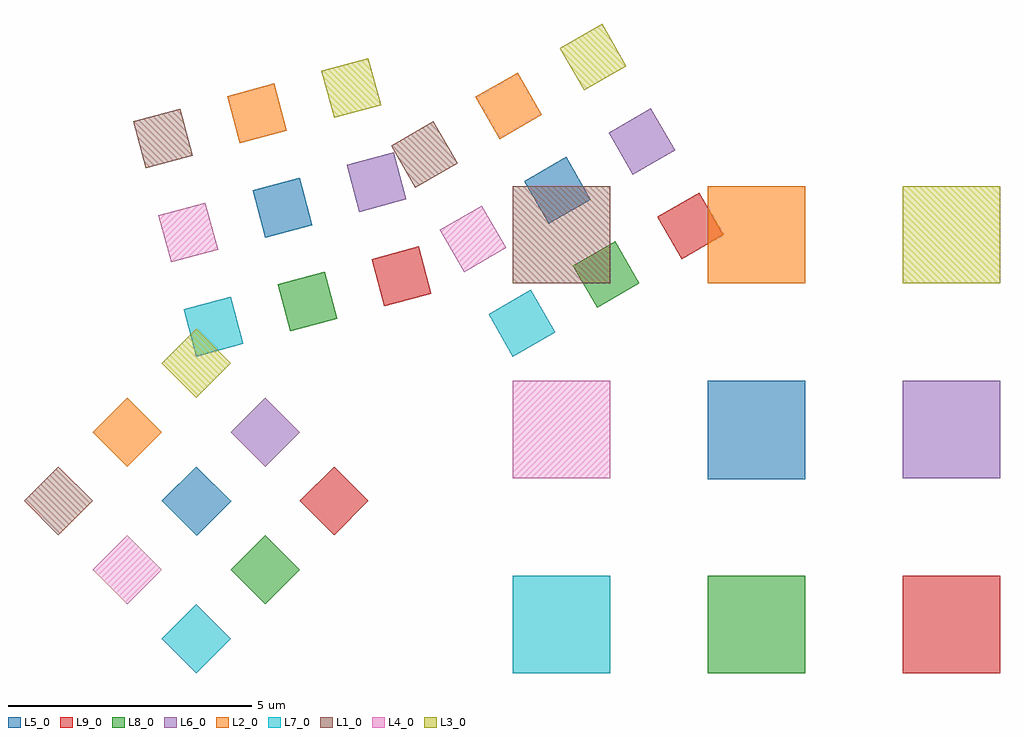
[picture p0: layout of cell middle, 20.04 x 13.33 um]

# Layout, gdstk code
from math import pi, radians
import gdstk
lib = gdstk.Library(unit=1e-6, precision=1e-09)
def R(c, l, rs):  # rectangles x0, y0, x1, y1
    for r in rs: c.add(gdstk.rectangle(r[:2], r[2:], *l))
L1_0 = (1, 0)
L2_0 = (2, 0)
L3_0 = (3, 0)
L4_0 = (4, 0)
L5_0 = (5, 0)
L6_0 = (6, 0)
L7_0 = (7, 0)
L8_0 = (8, 0)
L9_0 = (9, 0)

bottom = lib.new_cell('bottom')
R(bottom, L1_0, [(0,4,1,5)])
R(bottom, L2_0, [(2,4,3,5)])
R(bottom, L3_0, [(4,4,5,5)])
R(bottom, L4_0, [(0,2,1,3)])
R(bottom, L5_0, [(2,1.99,3,3)])
R(bottom, L6_0, [(4,2,5,3)])
R(bottom, L7_0, [(0,0,1,1)])
R(bottom, L8_0, [(2,0,3,1)])
R(bottom, L9_0, [(4,0,5,1)])
bottom.add(gdstk.Label('1', (0.51,4.5), layer=1, texttype=0))
bottom.add(gdstk.Label('2', (2.5,4.5), layer=2, texttype=0))
bottom.add(gdstk.Label('3', (4.5,4.49), layer=3, texttype=0))
bottom.add(gdstk.Label('4', (0.5,2.5), layer=4, texttype=0))
bottom.add(gdstk.Label('5', (2.51,2.5), layer=5, texttype=0))
bottom.add(gdstk.Label('6', (4.51,2.5), layer=6, texttype=0))
bottom.add(gdstk.Label('7', (0.51,0.5), layer=7, texttype=0))
bottom.add(gdstk.Label('8', (2.51,0.49), layer=8, texttype=0))
bottom.add(gdstk.Label('9', (4.5,0.49), layer=9, texttype=0))

middle = lib.new_cell('middle')
middle.add(gdstk.Reference(bottom, (4.28,7.07), rotation=radians(15)))
middle.add(gdstk.Reference(bottom, (10.78,7.07), rotation=radians(30)))
middle.add(gdstk.Reference(bottom, (4.28,0.57), rotation=radians(45)))
middle.add(gdstk.Reference(bottom, (10.78,0.57), magnification=2))

lib.write_gds('middle.gds')
